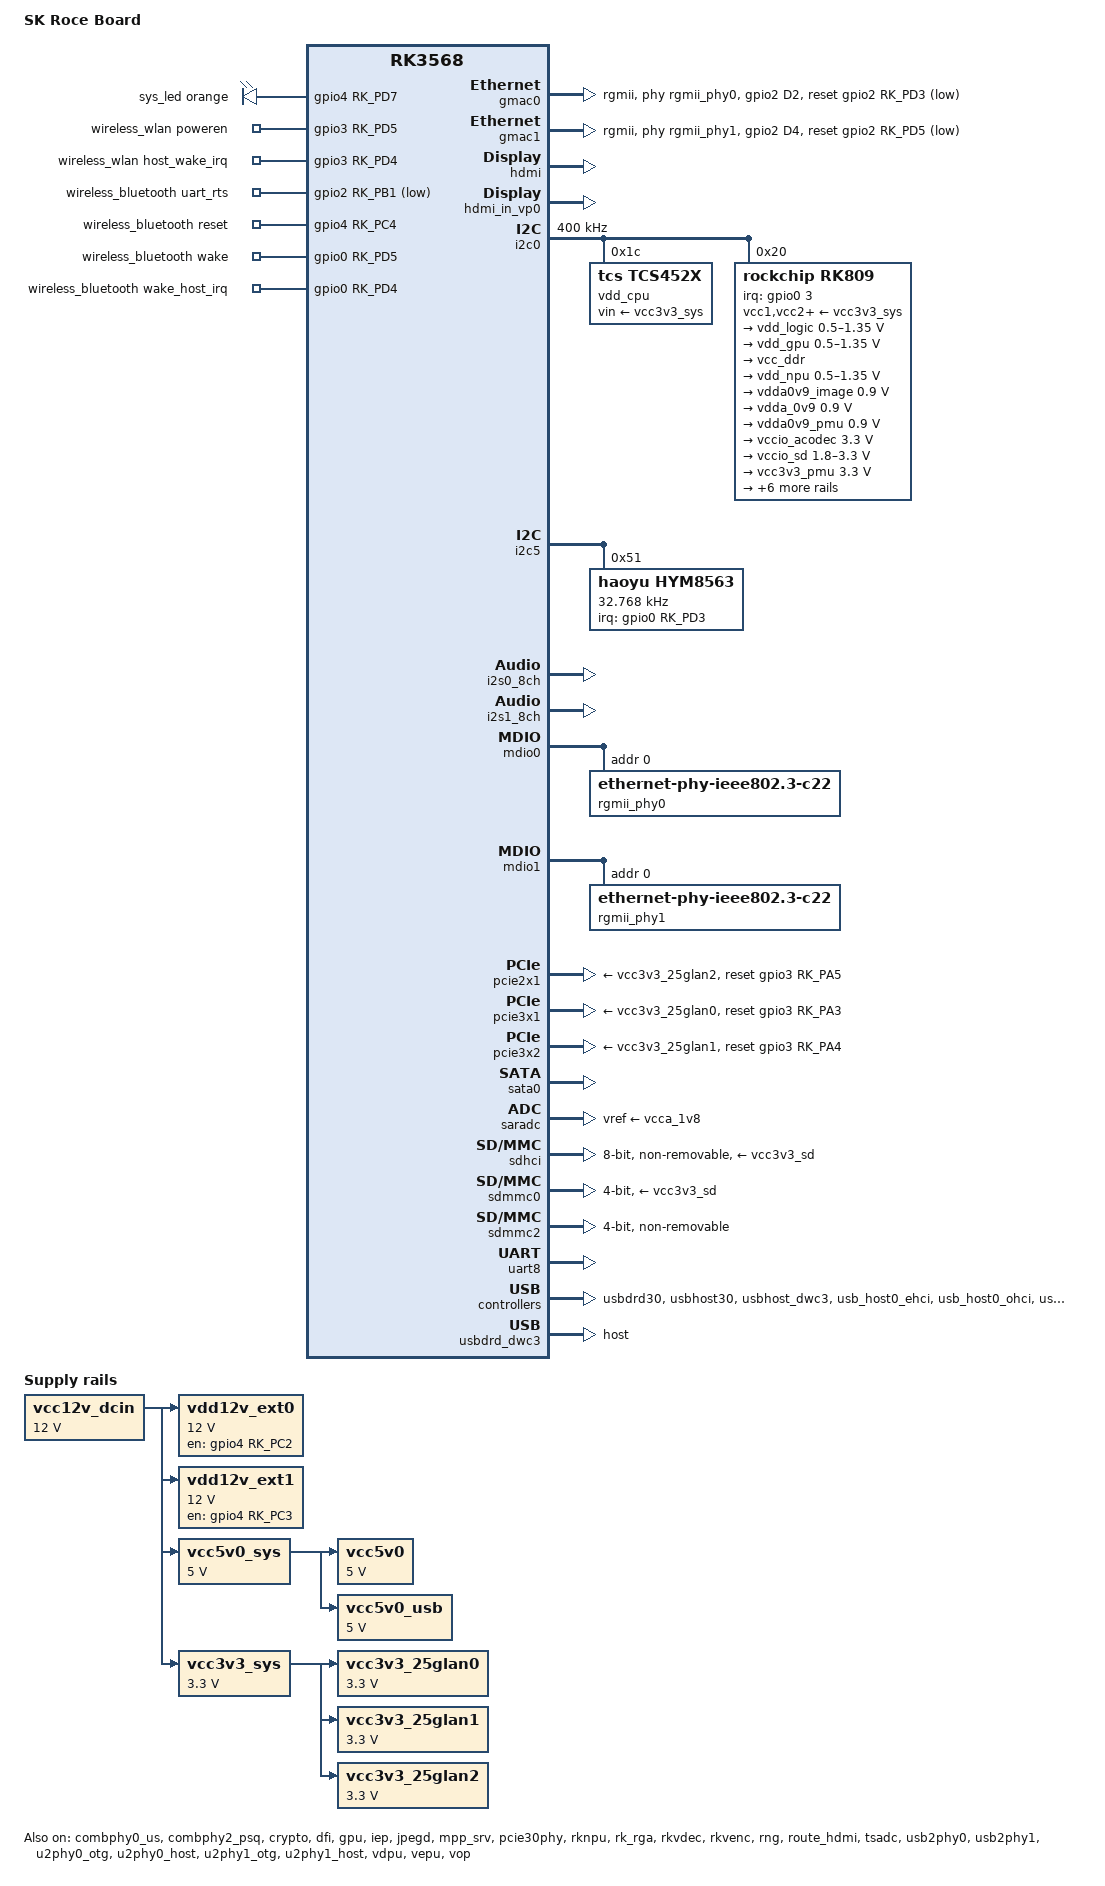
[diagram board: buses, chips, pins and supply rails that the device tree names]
// SPDX-License-Identifier: (GPL-2.0+ OR MIT)
/*
* Copyright (c) 2020 Rockchip Electronics Co., Ltd.
* Copyright (c) 2025 Sergey Kharenko
*/

/dts-v1/;

#include <dt-bindings/gpio/gpio.h>
#include <dt-bindings/pwm/pwm.h>
#include <dt-bindings/pinctrl/rockchip.h>
#include <dt-bindings/input/rk-input.h>
#include <dt-bindings/leds/common.h>
#include <dt-bindings/display/drm_mipi_dsi.h>
#include <dt-bindings/display/rockchip_vop.h>
#include <dt-bindings/sensor-dev.h>
#include "rk3568.dtsi"
#include "rk3568-linux.dtsi"

/ {
	model = "SK Roce Board";
	compatible = "sk,roce", "rockchip,rk3568";
	
	aliases {
		ethernet0 = &gmac0;
		ethernet1 = &gmac1;
		ethernet2 = &r8125_u10;
		ethernet3 = &r8125_u12;
		ethernet4 = &r8125_u14;
		mmc0 = &sdhci;
		mmc1 = &sdmmc0;
		sata = &sata0;
		hdmi = &hdmi;
	};
	
	chosen: chosen {
		bootargs = "earlycon=uart8250,mmio32,0xfe660000 console=ttyFIQ0";
	};
	
	firmware {
		optee: optee {
			compatible = "linaro,optee-tz";
			method = "smc";
		};
	};
	
	gpio_leds: gpio-leds {
		status = "okay";
		compatible = "gpio-leds";
		
		sys_led: sys-led {
			gpios = <&gpio4 RK_PD7 GPIO_ACTIVE_HIGH>;
			function = LED_FUNCTION_HEARTBEAT;
			color = <LED_COLOR_ID_ORANGE>;
			linux,default-trigger = "heartbeat";
			pinctrl-names = "default";
			pinctrl-0 = <&sys_led_pin>;
		};
	};
	
	hdmi_sound: hdmi-sound {
		compatible = "simple-audio-card";
		simple-audio-card,format = "i2s";
		simple-audio-card,mclk-fs = <128>;
		simple-audio-card,name = "rockchip,hdmi";
		status = "okay";
		
		simple-audio-card,cpu {
			sound-dai = <&i2s0_8ch>;
		};
		simple-audio-card,codec {
			sound-dai = <&hdmi>;
		};
	};
	
	rk809_sound: rk809-sound {
		status = "okay";
		compatible = "simple-audio-card";
		simple-audio-card,format = "i2s";
		simple-audio-card,name = "rockchip,rk809-codec";
		simple-audio-card,mclk-fs = <256>;
		
		simple-audio-card,cpu {
			sound-dai = <&i2s1_8ch>;
		};
		simple-audio-card,codec {
			sound-dai = <&rk809_codec 0>;
		};
	};
	
	vcc12v_dcin: vcc12v-dcin {
		compatible = "regulator-fixed";
		regulator-name = "vcc12v_dcin";
		regulator-always-on;
		regulator-boot-on;
		regulator-min-microvolt = <12000000>;
		regulator-max-microvolt = <12000000>;
	};
	
	vdd12v_ext0: vdd12v-ext0 {
		compatible = "regulator-fixed";
		regulator-name = "vdd12v_ext0";
		regulator-min-microvolt = <12000000>;
		regulator-max-microvolt = <12000000>;
		enable-active-high;
		pinctrl-names = "default";
		pinctrl-0 = <&vdd12v_ext0_pwren>;
		gpios = <&gpio4 RK_PC2 GPIO_ACTIVE_HIGH>;
		vin-supply = <&vcc12v_dcin>;
	};
	
	vdd12v_ext1: vdd12v-ext1 {
		compatible = "regulator-fixed";
		regulator-name = "vdd12v_ext1";
		regulator-min-microvolt = <12000000>;
		regulator-max-microvolt = <12000000>;
		enable-active-high;
		pinctrl-names = "default";
		pinctrl-0 = <&vdd12v_ext1_pwren>;
		gpios = <&gpio4 RK_PC3 GPIO_ACTIVE_HIGH>;
		vin-supply = <&vcc12v_dcin>;
	};
	
	vcc5v0: vcc5v0 {
		compatible = "regulator-fixed";
		regulator-name = "vcc5v0";
		regulator-always-on;
		regulator-boot-on;
		regulator-min-microvolt = <5000000>;
		regulator-max-microvolt = <5000000>;
		vin-supply = <&vcc5v0_sys>;
	};
	
	vcc5v0_sys: vcc5v0-sys {
		compatible = "regulator-fixed";
		regulator-name = "vcc5v0_sys";
		regulator-always-on;
		regulator-boot-on;
		regulator-min-microvolt = <5000000>;
		regulator-max-microvolt = <5000000>;
		vin-supply = <&vcc12v_dcin>;
	};
	
	vcc5v0_usb: vcc5v0-usb {
		compatible = "regulator-fixed";
		regulator-name = "vcc5v0_usb";
		regulator-always-on;
		regulator-boot-on;
		regulator-min-microvolt = <5000000>;
		regulator-max-microvolt = <5000000>;
		vin-supply = <&vcc5v0_sys>;
	};
	
	vcc3v3_sys: vcc3v3-sys {
		compatible = "regulator-fixed";
		regulator-name = "vcc3v3_sys";
		regulator-always-on;
		regulator-boot-on;
		regulator-min-microvolt = <3300000>;
		regulator-max-microvolt = <3300000>;
		vin-supply = <&vcc12v_dcin>;
	};
	
	vcc3v3_25glan0: vcc3v3-25glan0 {
		compatible = "regulator-fixed";
		regulator-name = "vcc3v3_25glan0";
		regulator-always-on;
		regulator-boot-on;
		regulator-min-microvolt = <3300000>;
		regulator-max-microvolt = <3300000>;
		vin-supply = <&vcc3v3_sys>;
	};
	
	vcc3v3_25glan1: vcc3v3-25glan1 {
		compatible = "regulator-fixed";
		regulator-name = "vcc3v3_25glan1";
		regulator-always-on;
		regulator-boot-on;
		regulator-min-microvolt = <3300000>;
		regulator-max-microvolt = <3300000>;
		vin-supply = <&vcc3v3_sys>;
	};
	
	vcc3v3_25glan2: vcc3v3-25glan2 {
		compatible = "regulator-fixed";
		regulator-name = "vcc3v3_25glan2";
		regulator-always-on;
		regulator-boot-on;
		regulator-min-microvolt = <3300000>;
		regulator-max-microvolt = <3300000>;
		vin-supply = <&vcc3v3_sys>;
	};
	
	wireless_wlan: wireless-wlan {
		compatible = "wlan-platdata";
		rockchip,grf = <&grf>;
		wifi_chip_type = "ap6255";
		pinctrl-names = "default";
		pinctrl-0 = <&wifi_host_wake_irq>, <&wifi_poweren_gpio>;
		WIFI,poweren_gpio = <&gpio3 RK_PD5 GPIO_ACTIVE_HIGH>;
		WIFI,host_wake_irq = <&gpio3 RK_PD4 GPIO_ACTIVE_HIGH>;
	};
	
	wireless_bluetooth: wireless-bluetooth {
		compatible = "bluetooth-platdata";
		clocks = <&rk809 1>;
		clock-names = "ext_clock";
		uart_rts_gpios = <&gpio2 RK_PB1 GPIO_ACTIVE_LOW>;
		pinctrl-names = "default", "rts_gpio";
		pinctrl-0 = <&uart8m0_rtsn>;
		pinctrl-1 = <&uart8_gpios>;
		BT,reset_gpio    = <&gpio4 RK_PC4 GPIO_ACTIVE_HIGH>;
		BT,wake_gpio     = <&gpio0 RK_PD5 GPIO_ACTIVE_HIGH>;
		BT,wake_host_irq = <&gpio0 RK_PD4 GPIO_ACTIVE_HIGH>;
	};
};

&combphy0_us {
	status = "okay";
};

&combphy2_psq {
	status = "okay";
};

&cpu0 {
	cpu-supply = <&vdd_cpu>;
};

&crypto {
	status = "okay";
};

&dfi {
	status = "okay";
};

&gmac0 {
	status = "okay";
	phy-mode = "rgmii";
	clock_in_out = "input";
	snps,reset-gpio = <&gpio2 RK_PD3 GPIO_ACTIVE_LOW>;
	snps,reset-active-high;
	/* Reset time is 20ms, 100ms for rtl8211f */
	snps,reset-delays-us = <0 20000 100000>;
	
	assigned-clocks = <&cru SCLK_GMAC0_RX_TX>, <&cru SCLK_GMAC0>;
	assigned-clock-parents = <&cru SCLK_GMAC0_RGMII_SPEED>, <&gmac0_clkin>;
	assigned-clock-rates = <0>, <125000000>, <25000000>;
	
	interrupt-parent = <&gpio2>;
	interrupts = <RK_PD2 IRQ_TYPE_EDGE_FALLING>;
	
	pinctrl-names = "default";
	pinctrl-0 = <
		&gmac0_miim
		&gmac0_tx_bus2
		&gmac0_rx_bus2
		&gmac0_rgmii_clk
		&gmac0_rgmii_bus
		&gmac0_clkinout
		&gmac0_int
	>;
	tx_delay = <0x3c>;
	rx_delay = <0x2f>;
	phy-handle = <&rgmii_phy0>;
};

&gmac1 {
	status = "okay";
	phy-mode = "rgmii";
	clock_in_out = "input";
	snps,reset-gpio = <&gpio2 RK_PD5 GPIO_ACTIVE_LOW>;
	snps,reset-active-low;
	/* Reset time is 20ms, 100ms for rtl8211f */
	snps,reset-delays-us = <0 20000 100000>;
	
	assigned-clocks = <&cru SCLK_GMAC1_RX_TX>, <&cru SCLK_GMAC1>, <&cru CLK_MAC1_OUT>;
	assigned-clock-parents = <&cru SCLK_GMAC1_RGMII_SPEED>, <&gmac1_clkin>;
	assigned-clock-rates = <0>, <125000000>, <25000000>;
	
	interrupt-parent = <&gpio2>;
	interrupts = <RK_PD4 IRQ_TYPE_EDGE_FALLING>;
	
	pinctrl-names = "default";
	pinctrl-0 = <
		&gmac1m1_miim
		&gmac1m1_tx_bus2
		&gmac1m1_rx_bus2
		&gmac1m1_rgmii_clk
		&gmac1m1_rgmii_bus
		&eth1m1_pins
		&gmac1m1_clkinout
		&gmac1_int
	>;
	
	tx_delay = <0x4f>;
	rx_delay = <0x26>;
	
	phy-handle = <&rgmii_phy1>;
};

&gpu {
	mali-supply = <&vdd_gpu>;
	mem-supply = <&vdd_gpu>;
	status = "okay";
};

&hdmi {
	status = "okay";
	cec-enable = "true";
	avdd-0v9-supply = <&vdda0v9_image>;
	avdd-1v8-supply = <&vcca1v8_image>;
	rockchip,phy-table =
	<92812500  0x8009 0x0000 0x0270>,
	<165000000 0x800b 0x0000 0x026d>,
	<185625000 0x800b 0x0000 0x01ed>,
	<297000000 0x800b 0x0000 0x01ad>,
	<594000000 0x8029 0x0000 0x0088>,
	<000000000 0x0000 0x0000 0x0000>;
};

&hdmi_in_vp0 {
	status = "okay";
};

&hdmi_in_vp1 {
	status = "disabled";
};

&i2c0 {
	status = "okay";
	clock-frequency = <400000>;
	
	vdd_cpu: tcs4525@1c {
		compatible = "tcs,tcs452x";
		reg = <0x1c>;
		vin-supply = <&vcc3v3_sys>;
		regulator-compatible = "fan53555-reg";
		regulator-name = "vdd_cpu";
		regulator-min-microvolt = <712500>;
		regulator-max-microvolt = <1390000>;
		regulator-init-microvolt = <900000>;
		regulator-ramp-delay = <2300>;
		fcs,suspend-voltage-selector = <1>;
		regulator-boot-on;
		regulator-always-on;
		regulator-state-mem {
			regulator-off-in-suspend;
		};
	};
	
	rk809: pmic@20 {
		compatible = "rockchip,rk809";
		reg = <0x20>;
		interrupt-parent = <&gpio0>;
		interrupts = <3 IRQ_TYPE_LEVEL_LOW>;
		
		pinctrl-names = "default", "pmic-sleep",
		"pmic-power-off", "pmic-reset";
		pinctrl-0 = <&pmic_int>;
		pinctrl-1 = <&soc_slppin_slp>, <&rk817_slppin_slp>;
		pinctrl-2 = <&soc_slppin_gpio>, <&rk817_slppin_pwrdn>;
		pinctrl-3 = <&soc_slppin_gpio>, <&rk817_slppin_rst>;
		
		rockchip,system-power-controller;
		wakeup-source;
		#clock-cells = <1>;
		clock-output-names = "rk808-clkout1", "rk808-clkout2";
		//fb-inner-reg-idxs = <2>;
		/* 1: rst regs (default in codes), 0: rst the pmic */
		pmic-reset-func = <0>;
		/* not save the PMIC_POWER_EN register in uboot */
		not-save-power-en = <1>;
		
		vcc1-supply = <&vcc3v3_sys>;
		vcc2-supply = <&vcc3v3_sys>;
		vcc3-supply = <&vcc3v3_sys>;
		vcc4-supply = <&vcc3v3_sys>;
		vcc5-supply = <&vcc3v3_sys>;
		vcc6-supply = <&vcc3v3_sys>;
		vcc7-supply = <&vcc3v3_sys>;
		vcc8-supply = <&vcc3v3_sys>;
		vcc9-supply = <&vcc3v3_sys>;
		
		pwrkey {
			status = "okay";
		};
		
		pinctrl_rk8xx: pinctrl_rk8xx {
			gpio-controller;
			#gpio-cells = <2>;
			
			rk817_slppin_null: rk817_slppin_null {
				pins = "gpio_slp";
				function = "pin_fun0";
			};
			
			rk817_slppin_slp: rk817_slppin_slp {
				pins = "gpio_slp";
				function = "pin_fun1";
			};
			
			rk817_slppin_pwrdn: rk817_slppin_pwrdn {
				pins = "gpio_slp";
				function = "pin_fun2";
			};
			
			rk817_slppin_rst: rk817_slppin_rst {
				pins = "gpio_slp";
				function = "pin_fun3";
			};
		};
		
		regulators {
			vdd_logic: DCDC_REG1 {
				regulator-always-on;
				regulator-boot-on;
				regulator-min-microvolt = <500000>;
				regulator-max-microvolt = <1350000>;
				regulator-init-microvolt = <900000>;
				regulator-ramp-delay = <6001>;
				regulator-initial-mode = <0x2>;
				regulator-name = "vdd_logic";
				regulator-state-mem {
					regulator-off-in-suspend;
				};
			};
			
			vdd_gpu: DCDC_REG2 {
				regulator-always-on;
				regulator-boot-on;
				regulator-min-microvolt = <500000>;
				regulator-max-microvolt = <1350000>;
				regulator-init-microvolt = <900000>;
				regulator-ramp-delay = <6001>;
				regulator-initial-mode = <0x2>;
				regulator-name = "vdd_gpu";
				regulator-state-mem {
					regulator-off-in-suspend;
				};
			};
			
			vcc_ddr: DCDC_REG3 {
				regulator-always-on;
				regulator-boot-on;
				regulator-initial-mode = <0x2>;
				regulator-name = "vcc_ddr";
				regulator-state-mem {
					regulator-on-in-suspend;
				};
			};
			
			vdd_npu: DCDC_REG4 {
				regulator-always-on;
				regulator-boot-on;
				regulator-min-microvolt = <500000>;
				regulator-max-microvolt = <1350000>;
				regulator-init-microvolt = <900000>;
				regulator-ramp-delay = <6001>;
				regulator-initial-mode = <0x2>;
				regulator-name = "vdd_npu";
				regulator-state-mem {
					regulator-off-in-suspend;
				};
			};
			
			vdda0v9_image: LDO_REG1 {
				regulator-boot-on;
				regulator-always-on;
				regulator-min-microvolt = <900000>;
				regulator-max-microvolt = <900000>;
				regulator-name = "vdda0v9_image";
				regulator-state-mem {
					regulator-off-in-suspend;
				};
			};
			
			vdda_0v9: LDO_REG2 {
				regulator-always-on;
				regulator-boot-on;
				regulator-min-microvolt = <900000>;
				regulator-max-microvolt = <900000>;
				regulator-name = "vdda_0v9";
				regulator-state-mem {
					regulator-off-in-suspend;
				};
			};
			
			vdda0v9_pmu: LDO_REG3 {
				regulator-always-on;
				regulator-boot-on;
				regulator-min-microvolt = <900000>;
				regulator-max-microvolt = <900000>;
				regulator-name = "vdda0v9_pmu";
				regulator-state-mem {
					regulator-on-in-suspend;
					regulator-suspend-microvolt = <900000>;
				};
			};
			
			vccio_acodec: LDO_REG4 {
				regulator-always-on;
				regulator-boot-on;
				regulator-min-microvolt = <3300000>;
				regulator-max-microvolt = <3300000>;
				regulator-name = "vccio_acodec";
				regulator-state-mem {
					regulator-off-in-suspend;
				};
			};
			
			vccio_sd: LDO_REG5 {
				regulator-always-on;
				regulator-boot-on;
				regulator-min-microvolt = <1800000>;
				regulator-max-microvolt = <3300000>;
				regulator-name = "vccio_sd";
				regulator-state-mem {
					regulator-off-in-suspend;
				};
			};
			
			vcc3v3_pmu: LDO_REG6 {
				regulator-always-on;
				regulator-boot-on;
				regulator-min-microvolt = <3300000>;
				regulator-max-microvolt = <3300000>;
				regulator-name = "vcc3v3_pmu";
				regulator-state-mem {
					regulator-on-in-suspend;
					regulator-suspend-microvolt = <3300000>;
				};
			};
			
			vcca_1v8: LDO_REG7 {
				regulator-always-on;
				regulator-boot-on;
				regulator-min-microvolt = <1800000>;
				regulator-max-microvolt = <1800000>;
				regulator-name = "vcca_1v8";
				regulator-state-mem {
					regulator-off-in-suspend;
				};
			};
			
			vcca1v8_pmu: LDO_REG8 {
				regulator-always-on;
				regulator-boot-on;
				regulator-min-microvolt = <1800000>;
				regulator-max-microvolt = <1800000>;
				regulator-name = "vcca1v8_pmu";
				regulator-state-mem {
					regulator-on-in-suspend;
					regulator-suspend-microvolt = <1800000>;
				};
			};
			
			vcca1v8_image: LDO_REG9 {
				regulator-always-on;
				regulator-boot-on;
				regulator-min-microvolt = <1800000>;
				regulator-max-microvolt = <1800000>;
				regulator-name = "vcca1v8_image";
				regulator-state-mem {
					regulator-off-in-suspend;
				};
			};
			
			vcc_1v8: DCDC_REG5 {
				regulator-always-on;
				regulator-boot-on;
				regulator-min-microvolt = <1800000>;
				regulator-max-microvolt = <1800000>;
				regulator-name = "vcc_1v8";
				regulator-state-mem {
					regulator-off-in-suspend;
				};
			};
			
			vcc_3v3: SWITCH_REG1 {
				regulator-always-on;
				regulator-boot-on;
				regulator-name = "vcc_3v3";
				regulator-state-mem {
					regulator-off-in-suspend;
				};
			};
			
			vcc3v3_sd: SWITCH_REG2 {
				regulator-always-on;
				regulator-boot-on;
				regulator-name = "vcc3v3_sd";
				regulator-state-mem {
					regulator-off-in-suspend;
				};
			};
		};
		
		rk809_codec: codec {
			#sound-dai-cells = <1>;
			compatible = "rockchip,rk809-codec", "rockchip,rk817-codec";
			clocks = <&cru I2S1_MCLKOUT>;
			clock-names = "mclk";
			assigned-clocks = <&cru I2S1_MCLKOUT>, <&cru I2S1_MCLK_TX_IOE>;
			assigned-clock-rates = <12288000>;
			assigned-clock-parents = <&cru I2S1_MCLKOUT_TX>, <&cru I2S1_MCLKOUT_TX>;
			pinctrl-names = "default";
			pinctrl-0 = <&i2s1m0_mclk>;
			hp-volume = <20>;
			spk-volume = <3>;
			mic-in-differential;
			status = "okay";
		};
	};
};

&i2c1 {
	status = "disabled";
};

&i2c3 {
	status = "disabled";
	pinctrl-names = "default";
	pinctrl-0 = <&i2c3m1_xfer>;
};

&i2c5 {
	status = "okay";
	
	hym8563: hym8563@51 {
		compatible = "haoyu,hym8563";
		reg = <0x51>;
		#clock-cells = <0>;
		clock-frequency = <32768>;
		clock-output-names = "hym8563";
		pinctrl-names = "default";
		pinctrl-0 = <&hym8563_int>;
		interrupt-parent = <&gpio0>;
		interrupts = <RK_PD3 IRQ_TYPE_LEVEL_LOW>;
		wakeup-source;
	};
};

&i2s0_8ch {
	status = "okay";
};

&i2s1_8ch {
	status = "okay";
	rockchip,clk-trcm = <1>;
	pinctrl-names = "default";
	pinctrl-0 = <
	&i2s1m0_sclktx
	&i2s1m0_lrcktx
	&i2s1m0_sdi0
	&i2s1m0_sdo0
	>;
};

&iep {
	status = "okay";
};

&iep_mmu {
	status = "okay";
};

&jpegd {
	status = "okay";
};

&jpegd_mmu {
	status = "okay";
};

&mdio0 {
	rgmii_phy0: phy@0 {
		compatible = "ethernet-phy-ieee802.3-c22";
		reg = <0x0>;
	};
};

&mdio1 {
	rgmii_phy1: phy@0 {
		compatible = "ethernet-phy-ieee802.3-c22";
		reg = <0x0>;
	};
};

&mpp_srv {
	status = "okay";
};

&pcie2x1 {
	reset-gpios = <&gpio3 RK_PA5 GPIO_ACTIVE_HIGH>;
	vpcie3v3-supply = <&vcc3v3_25glan2>;
	status = "okay";
	
	pcie@0,0 {
		reg = <0x00200000 0 0 0 0>;
		#address-cells = <3>;
		#size-cells = <2>;
		
		r8125_u10: pcie@20,0 {
			reg = <0x000000 0 0 0 0>;
		};
	};
};

&pcie30phy {
	status = "okay";
};

&pcie3x1 {
	rockchip,bifurcation;
	reset-gpios = <&gpio3 RK_PA3 GPIO_ACTIVE_HIGH>;
	vpcie3v3-supply = <&vcc3v3_25glan0>;
	status = "okay";
	
	pcie@0,0 {
		reg = <0x00400000 0 0 0 0>;
		#address-cells = <3>;
		#size-cells = <2>;
		
		r8125_u12: pcie@40,0 {
			reg = <0x000000 0 0 0 0>;
		};
	};
};

&pcie3x2 {
	reset-gpios = <&gpio3 RK_PA4 GPIO_ACTIVE_HIGH>;
	vpcie3v3-supply = <&vcc3v3_25glan1>;
	status = "okay";
	
	pcie@0,0 {
		reg = <0x00600000 0 0 0 0>;
		#address-cells = <3>;
		#size-cells = <2>;
		
		r8125_u14: pcie@60,0 {
			reg = <0x000000 0 0 0 0>;
		};
	};
};

&pinctrl {
	gmacs {
		gmac0_int: gmac0-int {
			rockchip,pins = <2 RK_PD2 RK_FUNC_GPIO &pcfg_pull_up>;
		};
		
		gmac1_int: gmac1-int {
			rockchip,pins = <2 RK_PD4 RK_FUNC_GPIO &pcfg_pull_up>;
		};
	};
	
	leds {
		sys_led_pin: sys-led-pin {
			rockchip,pins = <2 RK_PD7 RK_FUNC_GPIO &pcfg_pull_none>;
		};
	};

	pmic {
		pmic_int: pmic_int {
			rockchip,pins = <0 RK_PA3 RK_FUNC_GPIO &pcfg_pull_up>;
		};

		soc_slppin_gpio: soc_slppin_gpio {
			rockchip,pins = <0 RK_PA2 RK_FUNC_GPIO &pcfg_output_low_pull_down>;
		};

		soc_slppin_slp: soc_slppin_slp {
			rockchip,pins = <0 RK_PA2 1 &pcfg_pull_up>;
		};

		soc_slppin_rst: soc_slppin_rst {
			rockchip,pins = <0 RK_PA2 2 &pcfg_pull_none>;
		};
	};

	rtc {
		hym8563_int: hym8563-int {
			rockchip,pins = <0 RK_PD3 RK_FUNC_GPIO &pcfg_pull_up>;
		};
	};
	
	vdd12v_exts {
		vdd12v_ext0_pwren: vdd12v-ext0-pwren {
			rockchip,pins = <4 RK_PC2 RK_FUNC_GPIO &pcfg_pull_none>;
		};
		
		vdd12v_ext1_pwren: vdd12v-ext1-pwren {
			rockchip,pins = <4 RK_PC3 RK_FUNC_GPIO &pcfg_pull_none>;
		};
	};
	
	wireless-bluetooth {
		uart8_gpios: uart8-gpios {
			rockchip,pins = <2 RK_PB1 RK_FUNC_GPIO &pcfg_pull_none>;
		};
		
		bt_gpio: bt-gpio {
			rockchip,pins =
			<4 RK_PC4 RK_FUNC_GPIO &pcfg_pull_none>,
			<0 RK_PD5 RK_FUNC_GPIO &pcfg_pull_none>,
			<0 RK_PD4 RK_FUNC_GPIO &pcfg_pull_none>;
		};
	};
	
	wireless-wlan {
		wifi_host_wake_irq: wifi-host-wake-irq {
			rockchip,pins = <3 RK_PD4 RK_FUNC_GPIO &pcfg_pull_down>;
		};
		
		wifi_poweren_gpio: wifi-poweren-gpio {
			rockchip,pins = <3 RK_PD5 RK_FUNC_GPIO &pcfg_pull_up>;
		};
	};
};

&pmu_io_domains {
	status = "okay";
	pmuio1-supply = <&vcc3v3_pmu>;
	pmuio2-supply = <&vcc3v3_pmu>;
	vccio1-supply = <&vccio_acodec>;
	vccio2-supply = <&vcc_1v8>;
	vccio3-supply = <&vccio_sd>;
	vccio4-supply = <&vcc_1v8>;
	vccio5-supply = <&vcc_3v3>;
	vccio6-supply = <&vcc_1v8>;
	vccio7-supply = <&vcc_3v3>;
};

&rknpu {
	rknpu-supply = <&vdd_npu>;
	mem-supply = <&vdd_npu>;
	status = "okay";
};

&rknpu_mmu {
	status = "okay";
};

&rk_rga {
	status = "okay";
};

&rkvdec {
	vdec-supply = <&vdd_logic>;
	status = "okay";
};

&rkvdec_mmu {
	status = "okay";
};

&rkvenc {
	venc-supply = <&vdd_logic>;
	status = "okay";
};

&rkvenc_mmu {
	status = "okay";
};

&rng {
	status = "okay";
};

&route_hdmi {
	status = "okay";
	connect = <&vp0_out_hdmi>;
};

&sata0 {
	status = "okay";
	target-supply = <&vcc12v_dcin>;
	ahci-supply = <&vcc5v0_sys>;
};

&saradc {
	status = "okay";
	vref-supply = <&vcca_1v8>;
};

&sdhci {
	status = "okay";
	bus-width = <8>;
	supports-emmc;
	non-removable;
	vmmc-supply = <&vcc3v3_sd>;
	vqmmc-supply = <&vccio_sd>;
	max-frequency = <200000000>;
};

&sdmmc0 {
	status = "okay";
	max-frequency = <150000000>;
	supports-sd;
	bus-width = <4>;
	cap-mmc-highspeed;
	cap-sd-highspeed;
	disable-wp;
	sd-uhs-sdr104;
	vmmc-supply = <&vcc3v3_sd>;
	vqmmc-supply = <&vccio_sd>;
	pinctrl-names = "default";
	pinctrl-0 = <&sdmmc0_bus4 &sdmmc0_clk &sdmmc0_cmd &sdmmc0_det>;
};

&sdmmc2 {
	status = "okay";
	max-frequency = <150000000>;
	supports-sdio;
	bus-width = <4>;
	disable-wp;
	sd-uhs-sdr104;
	cap-sd-highspeed;
	cap-sdio-irq;
	keep-power-in-suspend;
	non-removable;
	pinctrl-names = "default";
	pinctrl-0 = <&sdmmc2m0_bus4 &sdmmc2m0_cmd &sdmmc2m0_clk>;
};

&tsadc {
	status = "okay";
};

&uart8 {
	status = "okay";
	pinctrl-names = "default";
	pinctrl-0 = <&uart8m0_xfer &uart8m0_ctsn>;
};

&usb2phy0 {
	status = "okay";
};

&usb2phy1 {
	status = "okay";
};

&usbdrd30 {
	status = "okay";
};

&usbdrd_dwc3 {
	status = "okay";
	dr_mode = "host";
	extcon = <&usb2phy0>;
	maximum-speed = "high-speed";
	snps,dis_u2_susphy_quirk;
};

&usbhost30 {
	status = "okay";
};

&usbhost_dwc3 {
	status = "okay";
	snps,xhci-trb-ent-quirk;
	maximum-speed = "super-speed";
};

&u2phy0_otg {
	vbus-supply = <&vcc5v0_sys>;
	status = "okay";
};

&u2phy0_host {
	phy-supply = <&vcc5v0_usb>;
	status = "okay";
};

&u2phy1_otg {
	vbus-supply = <&vcc5v0_usb>;
	status = "okay";
};

&u2phy1_host {
	phy-supply = <&vcc5v0_usb>;
	status = "okay";
};

&usb_host0_ehci {
	status = "okay";
};

&usb_host0_ohci {
	status = "okay";
};

&usb_host1_ehci {
	status = "okay";
};

&usb_host1_ohci {
	status = "okay";
};

&vdpu {
	status = "okay";
};

&vdpu_mmu {
	status = "okay";
};

&vepu {
	status = "okay";
};

&vepu_mmu {
	status = "okay";
};

&vop {
	status = "okay";
	vop-supply = <&vdd_logic>;
	assigned-clocks = <&cru DCLK_VOP0>, <&cru DCLK_VOP1>, <&cru DCLK_VOP2>;
	assigned-clock-parents = <&pmucru PLL_HPLL>, <&cru PLL_VPLL>, <&cru PLL_GPLL>;
	support-multi-area;
};

&vop_mmu {
	status = "okay";
};
